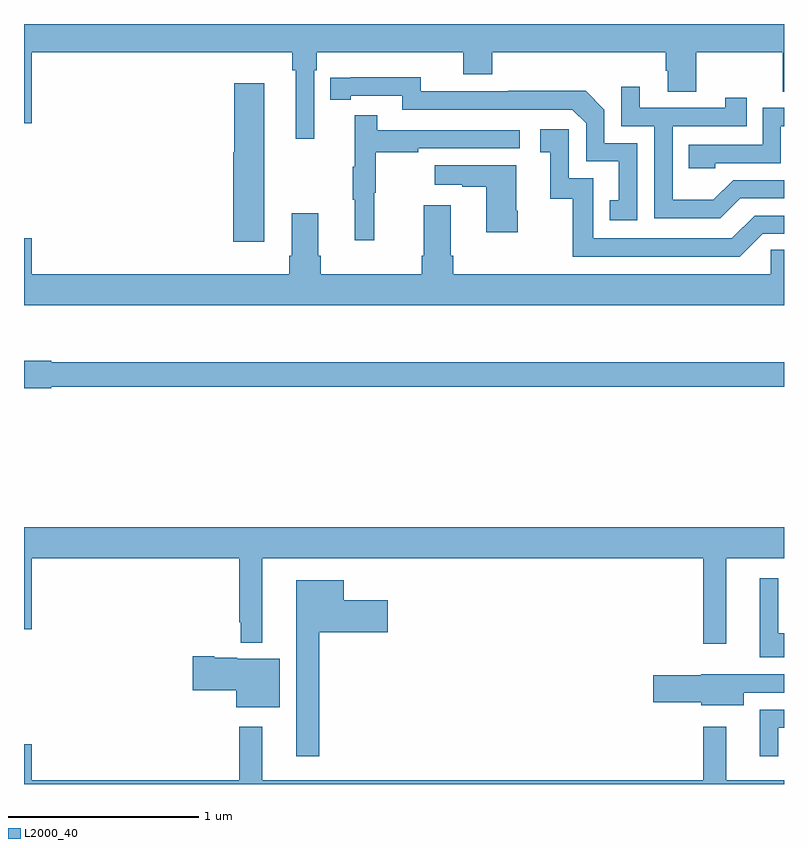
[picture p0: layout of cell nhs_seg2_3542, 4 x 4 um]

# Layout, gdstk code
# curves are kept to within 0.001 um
import gdstk
lib = gdstk.Library(unit=1e-6, precision=1e-09)
def P(c, l, *ps):  # polygons
    for p in ps: c.add(gdstk.Polygon(p, *l))
L2000_40 = (2000, 40)

nhs_seg2_3542 = lib.new_cell('nhs_seg2_3542')
P(nhs_seg2_3542, L2000_40, [(298.527,631.556),(298.541,631.556),(298.541,631.652),(299.312,631.652),(299.312,631.535),(299.465,631.535),(299.465,631.652),(300.377,631.652),(300.377,631.554),(300.389,631.554),(300.389,631.444),(300.537,631.444),(300.537,631.652),(300.994,631.652),(300.994,631.444),(301,631.444),(301,631.8),(297,631.8),(297,631.278),(297.04,631.278),(297.04,631.652),(298.411,631.652),(298.411,631.556),(298.43,631.556),(298.43,631.197),(298.527,631.197)],
  [(300.228,631.173),(300.054,631.173),(300.054,631.35),(299.956,631.448),(299.548,631.448),(299.548,631.446),(299.088,631.446),(299.088,631.519),(298.612,631.518),(298.612,631.402),(298.72,631.402),(298.72,631.422),(298.992,631.422),(298.992,631.35),(299.886,631.35),(299.958,631.278),(299.958,631.077),(300.131,631.077),(300.131,630.873),(300.082,630.873),(300.082,630.768),(300.228,630.768)],
  [(298.264,631.489),(298.106,631.489),(298.106,631.125),(298.1,631.125),(298.1,630.654),(298.264,630.654)],
  [(300.769,630.882),(301,630.882),(301,630.978),(300.732,630.978),(300.628,630.874),(300.414,630.874),(300.414,631.263),(300.803,631.263),(300.803,631.411),(300.692,631.411),(300.692,631.359),(300.241,631.359),(300.241,631.471),(300.144,631.471),(300.144,631.263),(300.318,631.263),(300.318,630.777),(300.664,630.777)],
  [(300.639,631.068),(300.984,631.068),(300.984,631.263),(301,631.263),(301,631.359),(300.888,631.359),(300.888,631.164),(300.499,631.164),(300.499,631.041),(300.639,631.041)],
  [(298.844,630.912),(298.852,630.912),(298.852,631.126),(299.075,631.126),(299.075,631.146),(299.608,631.146),(299.608,631.242),(298.859,631.242),(298.859,631.321),(298.742,631.321),(298.742,631.049),(298.731,631.049),(298.731,630.875),(298.742,630.875),(298.742,630.663),(298.844,630.663)],
  [(300.888,630.696),(301,630.696),(301,630.792),(300.846,630.792),(300.726,630.672),(299.997,630.672),(299.997,630.987),(299.868,630.987),(299.868,631.246),(299.718,631.246),(299.718,631.125),(299.771,631.125),(299.771,630.879),(299.889,630.879),(299.889,630.576),(300.768,630.576)],
  [(299.598,630.817),(299.59,630.817),(299.59,631.057),(299.163,631.057),(299.163,630.953),(299.306,630.953),(299.306,630.943),(299.432,630.943),(299.432,630.705),(299.598,630.705)],
  [(301,630.611),(300.93,630.611),(300.93,630.484),(299.258,630.484),(299.258,630.58),(299.245,630.58),(299.245,630.847),(299.105,630.847),(299.105,630.58),(299.093,630.58),(299.093,630.484),(298.562,630.484),(298.562,630.58),(298.549,630.58),(298.549,630.805),(298.409,630.805),(298.409,630.58),(298.397,630.58),(298.397,630.484),(297.04,630.484),(297.04,630.673),(297,630.673),(297,630.32),(301,630.32)],
  [(297.144,629.89),(301,629.89),(301,630.019),(297.144,630.019),(297.144,630.027),(297,630.027),(297,629.882),(297.144,629.882)],
  [(300.697,628.988),(301,628.988),(301,629.152),(297,629.152),(297,628.614),(297.04,628.614),(297.04,628.988),(298.134,628.988),(298.134,628.651),(298.141,628.651),(298.141,628.544),(298.255,628.544),(298.255,628.988),(300.576,628.988),(300.576,628.539),(300.697,628.539)],
  [(301,628.594),(300.97,628.594),(300.97,628.882),(300.872,628.882),(300.872,628.466),(301,628.466)],
  [(298.555,628.598),(298.915,628.598),(298.915,628.768),(298.684,628.768),(298.684,628.873),(298.433,628.873),(298.433,627.945),(298.555,627.945)],
  [(298.345,628.459),(298.122,628.459),(298.122,628.465),(298,628.465),(298,628.472),(297.888,628.472),(297.888,628.294),(298.118,628.294),(298.118,628.205),(298.345,628.205)],
  [(300.787,628.281),(301,628.281),(301,628.377),(300.783,628.377),(300.783,628.378),(300.564,628.378),(300.564,628.373),(300.312,628.373),(300.312,628.231),(300.564,628.231),(300.564,628.214),(300.787,628.214)],
  [(300.97,628.095),(301,628.095),(301,628.191),(300.872,628.191),(300.872,627.945),(300.97,627.945)],
  [(301,627.82),(300.697,627.82),(300.697,628.102),(300.576,628.102),(300.576,627.82),(298.255,627.82),(298.255,628.102),(298.134,628.102),(298.134,627.82),(297.04,627.82),(297.04,628.009),(297,628.009),(297,627.8),(301,627.8)])

lib.write_gds('nhs_seg2_3542.gds')
